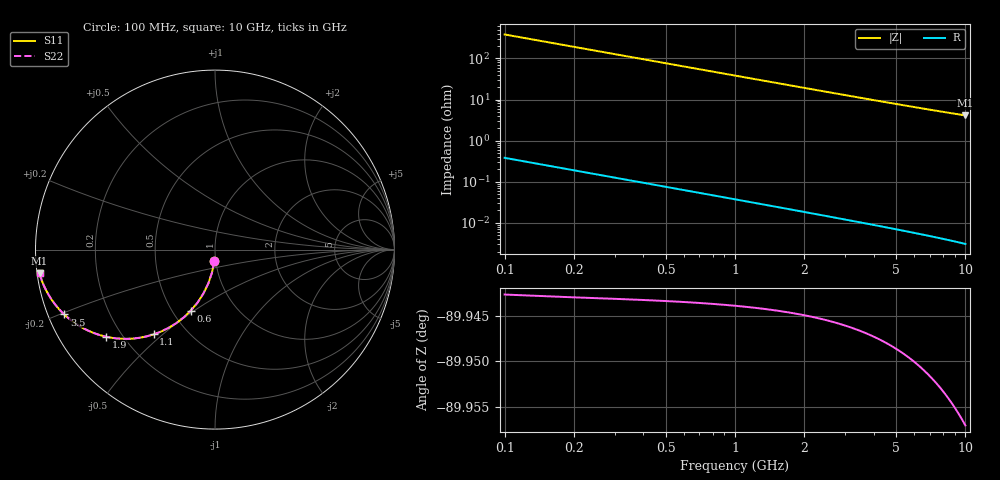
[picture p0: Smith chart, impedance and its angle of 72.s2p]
# Hz S RI R 50.00
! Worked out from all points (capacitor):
!   100 points, 100 MHz to 10 GHz, reference 50 ohm
!   read as one part in shunt: C = 4.17 pF near 100 MHz
!   lowest |Z| = 4.1 ohm at 10 GHz (marker M1)
!   S11 on the Smith chart (normalised r, x): 100 MHz: 0.98, -0.13; 600 MHz: 0.62, -0.48; 1.1 GHz: 0.33, -0.47; 1.9 GHz: 0.14, -0.34; 3.5 GHz: 0.05, -0.21; 10 GHz: 0.01, -0.07
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1e8  -0.00431 -0.0651  0.9956 -0.0654  0.9956 -0.0654  -0.00431 -0.0651
2e8  -0.017 -0.1285  0.983 -0.1291  0.983 -0.1291  -0.017 -0.1285
3e8  -0.0373 -0.1888  0.9626 -0.1896  0.9626 -0.1896  -0.0373 -0.1888
4e8  -0.0644 -0.2446  0.9355 -0.2456  0.9355 -0.2456  -0.0644 -0.2446
5e8  -0.0971 -0.295  0.9028 -0.2963  0.9028 -0.2963  -0.0971 -0.295
6e8  -0.134 -0.3394  0.8659 -0.341  0.8659 -0.341  -0.134 -0.3394
8e8  -0.2157 -0.4097  0.7843 -0.4119  0.7843 -0.4119  -0.2157 -0.4097
9e8  -0.2581 -0.4359  0.7418 -0.4383  0.7418 -0.4383  -0.2581 -0.4359
1.1e9  -0.3418 -0.4724  0.6581 -0.4753  0.6581 -0.4753  -0.3418 -0.4724
1.4e9  -0.4567 -0.4957  0.5432 -0.4995  0.5432 -0.4995  -0.4567 -0.4957
1.8e9  -0.5813 -0.4904  0.4186 -0.4953  0.4186 -0.4953  -0.5813 -0.4904
1.9e9  -0.6074 -0.4853  0.3926 -0.4904  0.3926 -0.4904  -0.6074 -0.4853
2.2e9  -0.6746 -0.465  0.3253 -0.471  0.3253 -0.471  -0.6746 -0.465
2.6e9  -0.7432 -0.4328  0.2567 -0.4399  0.2567 -0.4399  -0.7432 -0.4328
3e9  -0.7939 -0.3999  0.206 -0.408  0.206 -0.408  -0.7939 -0.3999
3.4e9  -0.8318 -0.3688  0.168 -0.3781  0.168 -0.3781  -0.8318 -0.3688
3.5e9  -0.8398 -0.3615  0.1601 -0.371  0.1601 -0.371  -0.8398 -0.3615
4.2e9  -0.8831 -0.315  0.1168 -0.3265  0.1168 -0.3265  -0.8831 -0.315
5.1e9  -0.9177 -0.2672  0.0821 -0.2812  0.0821 -0.2812  -0.9177 -0.2672
6.7e9  -0.9508 -0.2062  0.049 -0.2248  0.049 -0.2248  -0.9508 -0.2062
8.4e9  -0.9683 -0.1622  0.0313 -0.1859  0.0313 -0.1859  -0.9683 -0.1622
1e10  -0.9776 -0.1322  0.0219 -0.1608  0.0219 -0.1608  -0.9776 -0.1322
